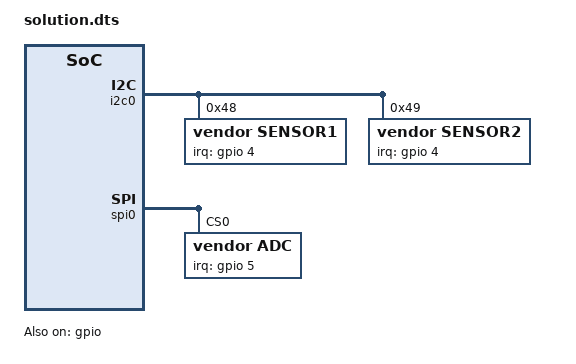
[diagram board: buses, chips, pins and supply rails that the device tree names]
/dts-v1/;

/ {
    #address-cells = <2>;
    #size-cells = <1>;

    soc {
        #address-cells = <2>;
        #size-cells = <1>;
        ranges;

        gic: interrupt-controller@7d000000 {
            compatible = "arm,gic-400";
            reg = <0x0 0x7d000000 0x1000>;
            #interrupt-cells = <3>;
            interrupt-controller;
        };

        gpio: gpio@7e200000 {
            compatible = "vendor,gpio";
            reg = <0x0 0x7e200000 0x1000>;
            status = "okay";
            interrupt-parent = <&gic>;
            interrupts = <0 17 4>;
            interrupt-controller;
            #interrupt-cells = <2>;
        };

        i2c0: i2c@7e205000 {
            compatible = "vendor,i2c";
            reg = <0x0 0x7e205000 0x1000>;
            status = "okay";
            interrupt-parent = <&gpio>;
            #address-cells = <1>;
            #size-cells = <0>;
            
            sensor1: sensor@48 {
                compatible = "vendor,sensor1";
                reg = <0x48>;
                interrupt-parent = <&gpio>;
                interrupts = <4 1>;    /* Shared GPIO4, active-high */
            };
            
            sensor2: sensor@49 {
                compatible = "vendor,sensor2";
                reg = <0x49>;
                interrupt-parent = <&gpio>;
                interrupts = <4 1>;    /* Shared GPIO4, active-high */
            };
        };

        spi0: spi@7e204000 {
            compatible = "vendor,spi";
            reg = <0x0 0x7e204000 0x1000>;
            status = "okay";
            interrupt-parent = <&gpio>;
            #address-cells = <1>;
            #size-cells = <0>;
            
            adc@0 {
                compatible = "vendor,adc";
                reg = <0>;
                interrupt-parent = <&gpio>;
                interrupts = <5 2>;    /* GPIO5, active-low */
            };
        };
    };
};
